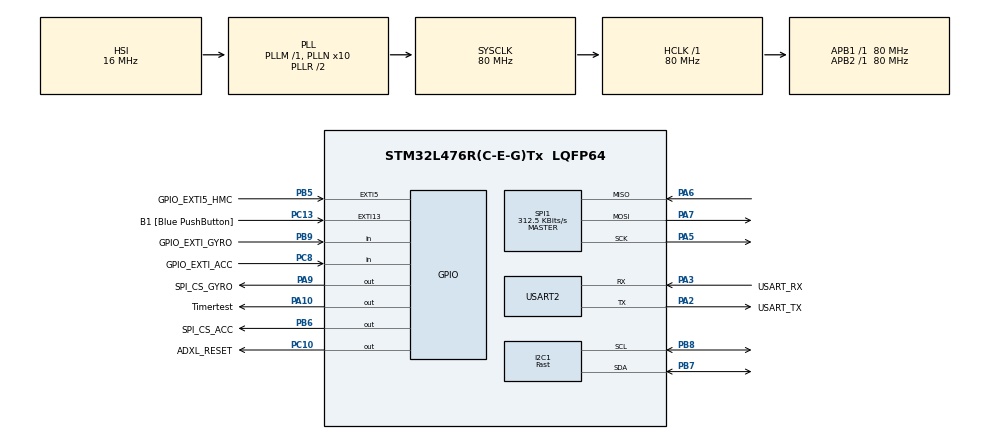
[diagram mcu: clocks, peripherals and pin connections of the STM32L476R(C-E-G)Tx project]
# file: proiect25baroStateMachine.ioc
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Dma.I2C1_RX.2.Direction=DMA_PERIPH_TO_MEMORY
Dma.I2C1_RX.2.Instance=DMA1_Channel7
Dma.I2C1_RX.2.MemDataAlignment=DMA_MDATAALIGN_BYTE
Dma.I2C1_RX.2.MemInc=DMA_MINC_ENABLE
Dma.I2C1_RX.2.Mode=DMA_NORMAL
Dma.I2C1_RX.2.PeriphDataAlignment=DMA_PDATAALIGN_BYTE
Dma.I2C1_RX.2.PeriphInc=DMA_PINC_DISABLE
Dma.I2C1_RX.2.Priority=DMA_PRIORITY_LOW
Dma.Request0=SPI1_RX
Dma.Request1=SPI1_TX
Dma.Request2=I2C1_RX
Dma.SPI1_RX.0.Direction=DMA_PERIPH_TO_MEMORY
Dma.SPI1_RX.0.Instance=DMA1_Channel2
Dma.SPI1_RX.0.MemDataAlignment=DMA_MDATAALIGN_BYTE
Dma.SPI1_RX.0.MemInc=DMA_MINC_ENABLE
Dma.SPI1_RX.0.Mode=DMA_NORMAL
Dma.SPI1_RX.0.PeriphDataAlignment=DMA_PDATAALIGN_BYTE
Dma.SPI1_RX.0.PeriphInc=DMA_PINC_DISABLE
Dma.SPI1_RX.0.Priority=DMA_PRIORITY_LOW
Dma.SPI1_TX.1.Direction=DMA_MEMORY_TO_PERIPH
Dma.SPI1_TX.1.Instance=DMA1_Channel3
Dma.SPI1_TX.1.MemDataAlignment=DMA_MDATAALIGN_BYTE
Dma.SPI1_TX.1.MemInc=DMA_MINC_ENABLE
Dma.SPI1_TX.1.Mode=DMA_NORMAL
Dma.SPI1_TX.1.PeriphDataAlignment=DMA_PDATAALIGN_BYTE
Dma.SPI1_TX.1.PeriphInc=DMA_PINC_DISABLE
Dma.SPI1_TX.1.Priority=DMA_PRIORITY_LOW
I2C1.I2C_Speed_Mode=I2C_Fast
I2C1.Timing=0x00702991
Mcu.Family=STM32L4
Mcu.Name=STM32L476R(C-E-G)Tx
Mcu.Package=LQFP64
NVIC.DMA1_Channel2_IRQn=true\:2\:0\:true\:false\:true\:false\:true\:true
NVIC.DMA1_Channel3_IRQn=true\:2\:0\:true\:false\:true\:false\:true\:true
NVIC.DMA1_Channel7_IRQn=true\:0\:0\:false\:false\:true\:false\:true\:true
NVIC.EXTI9_5_IRQn=true\:2\:0\:true\:false\:true\:true\:true\:true
NVIC.I2C1_EV_IRQn=true\:2\:0\:true\:false\:true\:true\:true\:true
NVIC.PriorityGroup=NVIC_PRIORITYGROUP_4
NVIC.SPI1_IRQn=true\:2\:0\:true\:false\:true\:true\:true\:true
NVIC.TIM1_TRG_COM_TIM17_IRQn=true\:2\:0\:true\:false\:true\:true\:true\:true
PA10.GPIO_Label=Timertest
PA10.Signal=GPIO_Output
PA13\ (JTMS-SWDIO).GPIO_Label=TMS
PA13\ (JTMS-SWDIO).Mode=Serial_Wire
PA13\ (JTMS-SWDIO).Signal=SYS_JTMS-SWDIO
PA14\ (JTCK-SWCLK).GPIO_Label=TCK
PA14\ (JTCK-SWCLK).Mode=Serial_Wire
PA14\ (JTCK-SWCLK).Signal=SYS_JTCK-SWCLK
PA2.GPIO_Label=USART_TX
PA2.GPIO_Mode=GPIO_MODE_AF_PP
PA2.GPIO_PuPd=GPIO_NOPULL
PA2.GPIO_Speed=GPIO_SPEED_FREQ_VERY_HIGH
PA2.Mode=Asynchronous
PA2.Signal=USART2_TX
PA3.GPIO_Label=USART_RX
PA3.GPIO_Mode=GPIO_MODE_AF_PP
PA3.GPIO_PuPd=GPIO_NOPULL
PA3.GPIO_Speed=GPIO_SPEED_FREQ_VERY_HIGH
PA3.Mode=Asynchronous
PA3.Signal=USART2_RX
PA5.Mode=Full_Duplex_Master
PA5.Signal=SPI1_SCK
PA6.GPIO_PuPd=GPIO_PULLUP
PA6.Mode=Full_Duplex_Master
PA6.Signal=SPI1_MISO
PA7.GPIO_PuPd=GPIO_PULLUP
PA7.Mode=Full_Duplex_Master
PA7.Signal=SPI1_MOSI
PA9.GPIO_Label=SPI_CS_GYRO
PA9.GPIO_Speed=GPIO_SPEED_FREQ_HIGH
PA9.PinState=GPIO_PIN_SET
PA9.Signal=GPIO_Output
PB3\ (JTDO-TRACESWO).GPIO_Label=SWO
PB3\ (JTDO-TRACESWO).Signal=SYS_JTDO-SWO
PB5.GPIO_Label=GPIO_EXTI5_HMC
PB5.GPIO_PuPd=GPIO_PULLUP
PB5.Signal=GPXTI5
PB6.GPIO_Label=SPI_CS_ACC
PB6.GPIO_Speed=GPIO_SPEED_FREQ_HIGH
PB6.PinState=GPIO_PIN_SET
PB6.Signal=GPIO_Output
PB7.GPIO_FM7=I2C_FASTMODEPLUS_PB7
PB7.GPIO_Pu=GPIO_PULLUP
PB7.Mode=I2C
PB7.Signal=I2C1_SDA
PB8.GPIO_FM8=I2C_FASTMODEPLUS_PB8
PB8.GPIO_Pu=GPIO_PULLUP
PB8.Mode=I2C
PB8.Signal=I2C1_SCL
PB9.GPIO_Label=GPIO_EXTI_GYRO
PB9.Signal=GPIO_Input
PC10.GPIO_Label=ADXL_RESET
PC10.Signal=GPIO_Output
PC13.GPIO_Label=B1 [Blue PushButton]
PC13.GPIO_ModeDefaultEXTI=GPIO_MODE_IT_FALLING
PC13.GPIO_PuPd=GPIO_NOPULL
PC13.Signal=GPXTI13
PC14-OSC32_IN\ (PC14).Mode=LSE-External-Oscillator
PC14-OSC32_IN\ (PC14).Signal=RCC_OSC32_IN
PC15-OSC32_OUT\ (PC15).Mode=LSE-External-Oscillator
PC15-OSC32_OUT\ (PC15).Signal=RCC_OSC32_OUT
PC8.GPIO_Label=GPIO_EXTI_ACC
PC8.Signal=GPIO_Input
PH0-OSC_IN\ (PH0).Signal=RCC_OSC_IN
PH1-OSC_OUT\ (PH1).Signal=RCC_OSC_OUT
ProjectManager.HeapSize=0x200
ProjectManager.StackSize=0x400
ProjectManager.TargetToolchain=STM32CubeIDE
RCC.ADCFreq_Value=64000000
RCC.AHBFreq_Value=80000000
RCC.APB1Freq_Value=80000000
RCC.APB1TimFreq_Value=80000000
RCC.APB2Freq_Value=80000000
RCC.APB2TimFreq_Value=80000000
RCC.CortexFreq_Value=80000000
RCC.HCLKFreq_Value=80000000
RCC.HSE_VALUE=8000000
RCC.HSI_VALUE=16000000
RCC.MSI_VALUE=4000000
RCC.PLLN=10
RCC.PLLSourceVirtual=RCC_PLLSOURCE_HSI
RCC.PREFETCH_ENABLE=1
RCC.SYSCLKFreq_VALUE=80000000
RCC.SYSCLKSource=RCC_SYSCLKSOURCE_PLLCLK
RCC.USBFreq_Value=64000000
RCC.VCOOutputFreq_Value=160000000
SPI1.BaudRatePrescaler=SPI_BAUDRATEPRESCALER_256
SPI1.CLKPhase=SPI_PHASE_2EDGE
SPI1.CLKPolarity=SPI_POLARITY_HIGH
SPI1.CalculateBaudRate=312.5 KBits/s
SPI1.DataSize=SPI_DATASIZE_8BIT
SPI1.Direction=SPI_DIRECTION_2LINES
SPI1.Mode=SPI_MODE_MASTER
SPI1.VirtualType=VM_MASTER
TIM17.Period=49999
TIM17.Prescaler=10
USART2.VirtualMode-Asynchronous=VM_ASYNC
VP_TIM17_VS_ClockSourceINT.Mode=Enable_Timer
board=NUCLEO-L476RG

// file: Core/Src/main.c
/* USER CODE BEGIN Header */
/**
  ******************************************************************************
  * @file           : main.c
  * @brief          : Main program body
  ******************************************************************************
  * @attention
  *
  * Copyright (c) 2022 STMicroelectronics.
  * All rights reserved.
  *
  * This software is licensed under terms that can be found in the LICENSE file
  * in the root directory of this software component.
  * If no LICENSE file comes with this software, it is provided AS-IS.
  *
  ******************************************************************************
  */
/* USER CODE END Header */
#include <pressure_sensor.h>
#include "main.h"
#include "dma.h"
#include "i2c.h"
#include "spi.h"
#include "tim.h"
#include "usart.h"
#include "gpio.h"

/* USER CODE BEGIN Includes */
#include <stdio.h>
#include "ADXL.h"
#include <string.h>
#include "GYRO.h"
#include <stdbool.h>
#include "HMC.h"
/* USER CODE END Includes */

/* USER CODE BEGIN PV */
/*
 * this variable becomes true whe spi interrupt started and the data
 * is sent and we are ready to calculate acceleration values,after
 * that becomes false again till next acc spi interrupt starts
 */
bool is_new_ACC_datacomplete_g = false;
/*
 * this variable becomes true whe spi interrupt started and the data
 * is sent and we are ready to calculate gyroscope values,after
 * that becomes false again till next gyro spi interrupt starts
 */
bool is_new_GYRO_datacomplete_g = false;

/*
 * this variable is default on false and becomes true when an EXTI
 *  interrupt starts for the HMC,and after we calculate HMC
 * values  becomes false again till another EXTI interrupt starts
 */
bool is_HMC_EXTI_Enabled_g = false;
/*
 * this variable becomes true whe I2C interrupt started and the data
 * is sent and we are ready to calculate HMC values,after
 * that becomes false again till next I2c HMC interrupt starts
 */
bool is_HMC_IT_Enabled_g = false;
/*
 * in this variable we save barometric pressure value read from the pressure sensor
 */
static int32_t baropres_g;

/* USER CODE END PV */

void SystemClock_Config(void);

int main(void)
{
  /* USER CODE BEGIN 1 */
    int16_t x,y,z;
    /* USER CODE END 1 */

  /* MCU Configuration--------------------------------------------------------*/

  /* Reset of all peripherals, Initializes the Flash interface and the Systick. */
  HAL_Init();

  /* Configure the system clock */
  SystemClock_Config();

  /* USER CODE BEGIN SysInit */
  TIM17->DIER &= ~(TIM_IT_UPDATE);
  TIM17->CR1  &= ~(TIM_CR1_CEN);
  /* USER CODE END SysInit */

  /* Initialize all configured peripherals */
  MX_GPIO_Init();
  MX_DMA_Init();
  MX_USART2_UART_Init();
  MX_SPI1_Init();
  MX_I2C1_Init();
  MX_TIM17_Init();
  /* USER CODE BEGIN 2 */
  Pressure_Sensor_Init();
  HMC_Init();
  ADXL_Init();
  GYRO_Init();
  /* USER CODE END 2 */

  /* Infinite loop */
  /* USER CODE BEGIN WHILE */
    while (1)
	{
		if (ADXL_IsExtiDataReady())
		{
			ADXL_StartMeasurement();
		}

		if (GYRO_IsExtiDataReady())
		{
			GYRO_StartMeasurement();
		}

		if (is_new_ACC_datacomplete_g)
		{
			is_new_ACC_datacomplete_g = false;
            ADXL_GetValues(&x, &y, &z);
            USART_TransmitACCValues(&x, &y, &z);
        }

		if (is_new_GYRO_datacomplete_g)
		{
			is_new_GYRO_datacomplete_g = false;
			GYRO_GetValues(&x, &y, &z);
		    USART_TransmitGYROValues(&x, &y, &z);
        }

		if (Pressure_Sensor_CyclicTask() == 1)
		{
			baropres_g = Pressure_Sensor_GetPresure();
			USART_TransmitBMPValue(&baropres_g);
		}

 		if (is_HMC_IT_Enabled_g)
		{
			HMC_GetValues(&x, &y, &z);
			USART_TransmitHMCValues(&x, &y, &z);
			is_HMC_IT_Enabled_g = false;
		}

    /* USER CODE END WHILE */

   }
}

void SystemClock_Config(void)
{
  RCC_OscInitTypeDef RCC_OscInitStruct = {0};
  RCC_ClkInitTypeDef RCC_ClkInitStruct = {0};

  /** Configure the main internal regulator output voltage
  */
  if (HAL_PWREx_ControlVoltageScaling(PWR_REGULATOR_VOLTAGE_SCALE1) != HAL_OK)
  {
    Error_Handler();
  }

  /** Initializes the RCC Oscillators according to the specified parameters
  * in the RCC_OscInitTypeDef structure.
  */
  RCC_OscInitStruct.OscillatorType = RCC_OSCILLATORTYPE_HSI;
  RCC_OscInitStruct.HSIState = RCC_HSI_ON;
  RCC_OscInitStruct.HSICalibrationValue = RCC_HSICALIBRATION_DEFAULT;
  RCC_OscInitStruct.PLL.PLLState = RCC_PLL_ON;
  RCC_OscInitStruct.PLL.PLLSource = RCC_PLLSOURCE_HSI;
  RCC_OscInitStruct.PLL.PLLM = 1;
  RCC_OscInitStruct.PLL.PLLN = 10;
  RCC_OscInitStruct.PLL.PLLP = RCC_PLLP_DIV7;
  RCC_OscInitStruct.PLL.PLLQ = RCC_PLLQ_DIV2;
  RCC_OscInitStruct.PLL.PLLR = RCC_PLLR_DIV2;
  if (HAL_RCC_OscConfig(&RCC_OscInitStruct) != HAL_OK)
  {
    Error_Handler();
  }

  /** Initializes the CPU, AHB and APB buses clocks
  */
  RCC_ClkInitStruct.ClockType = RCC_CLOCKTYPE_HCLK|RCC_CLOCKTYPE_SYSCLK
                              |RCC_CLOCKTYPE_PCLK1|RCC_CLOCKTYPE_PCLK2;
  RCC_ClkInitStruct.SYSCLKSource = RCC_SYSCLKSOURCE_PLLCLK;
  RCC_ClkInitStruct.AHBCLKDivider = RCC_SYSCLK_DIV1;
  RCC_ClkInitStruct.APB1CLKDivider = RCC_HCLK_DIV1;
  RCC_ClkInitStruct.APB2CLKDivider = RCC_HCLK_DIV1;

  if (HAL_RCC_ClockConfig(&RCC_ClkInitStruct, FLASH_LATENCY_4) != HAL_OK)
  {
    Error_Handler();
  }
}

void Error_Handler(void)
{
  __disable_irq();
  while (1)
  {
  }
}
